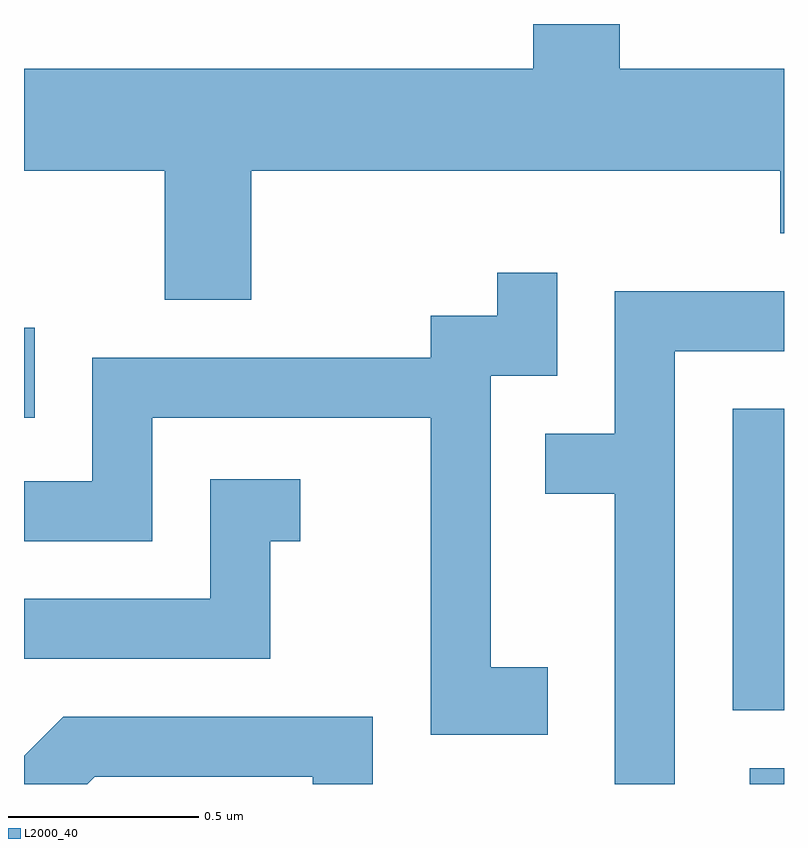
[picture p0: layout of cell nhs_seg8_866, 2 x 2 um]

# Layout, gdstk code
import gdstk
lib = gdstk.Library(unit=1e-6, precision=1e-09)
def R(c, l, rs):  # rectangles x0, y0, x1, y1
    for r in rs: c.add(gdstk.rectangle(r[:2], r[2:], *l))
def P(c, l, *ps):  # polygons
    for p in ps: c.add(gdstk.Polygon(p, *l))
L2000_40 = (2000, 40)

nhs_seg8_866 = lib.new_cell('nhs_seg8_866')
R(nhs_seg8_866, L2000_40, [(193.521,1850.342,193.611,1850.384), (193.476,1850.536,193.611,1851.329), (191.611,1851.306,191.639,1851.543)])
P(nhs_seg8_866, L2000_40, [(192.209,1851.956),(193.601,1851.956),(193.601,1851.791),(193.611,1851.791),(193.611,1852.224),(193.179,1852.224),(193.179,1852.342),(192.951,1852.342),(192.951,1852.224),(191.611,1852.224),(191.611,1851.956),(191.981,1851.956),(191.981,1851.616),(192.209,1851.616)],
  [(192.989,1850.649),(192.839,1850.649),(192.839,1851.416),(193.014,1851.416),(193.014,1851.688),(192.856,1851.688),(192.856,1851.574),(192.681,1851.574),(192.681,1851.464),(191.791,1851.464),(191.791,1851.139),(191.611,1851.139),(191.611,1850.981),(191.949,1850.981),(191.949,1851.306),(192.681,1851.306),(192.681,1850.471),(192.989,1850.471)],
  [(193.324,1851.481),(193.611,1851.481),(193.611,1851.639),(193.166,1851.639),(193.166,1851.264),(192.983,1851.264),(192.983,1851.106),(193.166,1851.106),(193.166,1850.342),(193.324,1850.342)],
  [(192.259,1850.981),(192.338,1850.981),(192.338,1851.144),(192.101,1851.144),(192.101,1850.829),(191.611,1850.829),(191.611,1850.671),(192.259,1850.671)],
  [(191.797,1850.361),(192.371,1850.361),(192.371,1850.342),(192.529,1850.342),(192.529,1850.519),(191.714,1850.519),(191.611,1850.416),(191.611,1850.342),(191.778,1850.342)])

lib.write_gds('nhs_seg8_866.gds')
